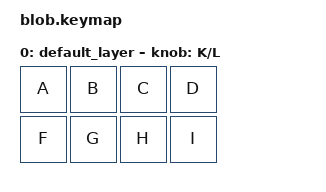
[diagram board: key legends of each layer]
#include <behaviors.dtsi>
#include <dt-bindings/zmk/keys.h>
#include <dt-bindings/zmk/outputs.h>
#include <dt-bindings/zmk/bt.h>

/ {
    combos {
        compatible = "zmk,combos";
        combo_bootloader {
            timeout-ms = <50>;
            key-positions = <4 5>;
            bindings = <&bootloader>;
        };
        combo_reset {
            timeout-ms = <50>;
            key-positions = <0 1>;
            bindings = <&sys_reset>;
        };
        combo_output {
            timeout-ms = <50>;
            key-positions = <0 2>;
            bindings = <&out OUT_TOG>;
        };
        combo_bt_clear {
            timeout-ms = <50>;
            key-positions = <0 3>;
            bindings = <&bt BT_CLR>;
        };
    };

    // ┌───┬───┬───┬───┐
    // │ 0 │ 1 │ 2 │ 3 │
    // └───┴───┴───┴───┘
    //      ╭─────╮
    //      │  7  │      ← encoder, push = 7
    //      ╰─────╯
    //   ┌───┬───┬───┐
    //   │ 4 │ 5 │ 6 │
    //   └───┴───┴───┘
    keymap {
        compatible = "zmk,keymap";

        default_layer {
            bindings = <
    &kp A    &kp B    &kp C    &kp D
    &kp F    &kp G    &kp H    &kp I
            >;

            sensor-bindings = <&inc_dec_kp K L>;
        };
    };
};
